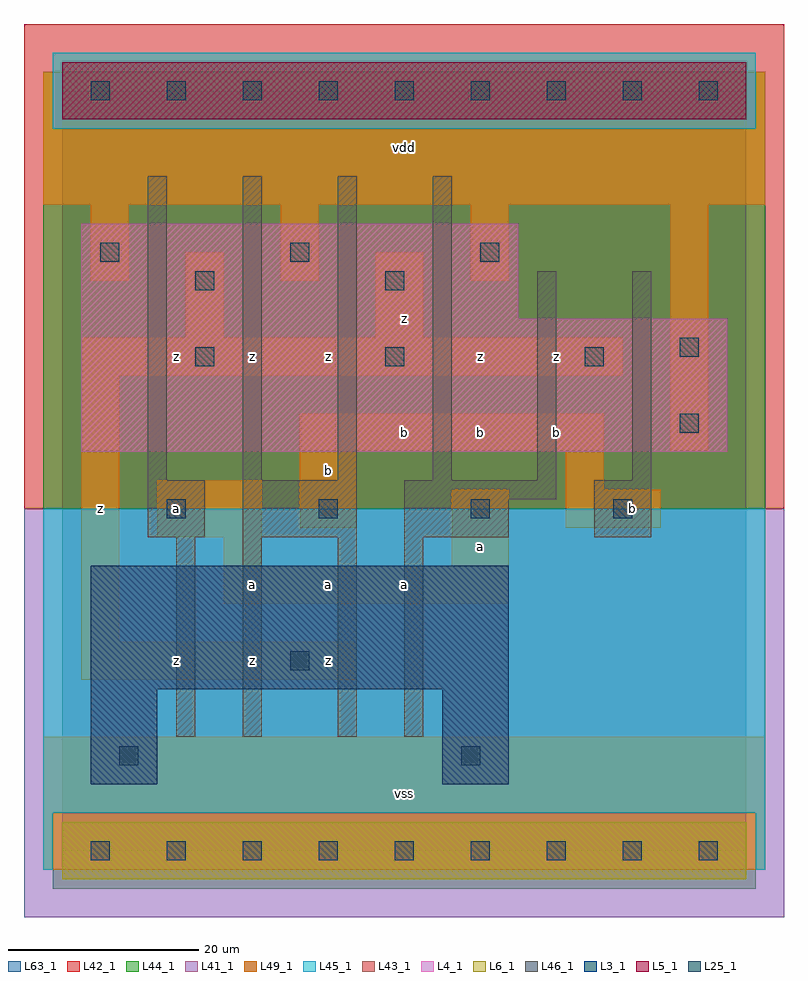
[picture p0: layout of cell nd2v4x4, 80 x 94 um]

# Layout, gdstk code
import gdstk
lib = gdstk.Library(unit=1e-6, precision=1e-09)
def R(c, l, rs):  # rectangles x0, y0, x1, y1
    for r in rs: c.add(gdstk.rectangle(r[:2], r[2:], *l))
def A(c, l, x, y, w, h, nx, ny, dx, dy):  # array of equal rectangles
    R(c, l, [(x+i*dx, y+j*dy, x+i*dx+w, y+j*dy+h) for i in range(nx) for j in range(ny)])
L3_1 = (3, 1)
L4_1 = (4, 1)
L5_1 = (5, 1)
L6_1 = (6, 1)
L25_1 = (25, 1)
L41_1 = (41, 1)
L42_1 = (42, 1)
L43_1 = (43, 1)
L44_1 = (44, 1)
L45_1 = (45, 1)
L46_1 = (46, 1)
L49_1 = (49, 1)
L63_1 = (63, 1)

nd2v4x4 = lib.new_cell('nd2v4x4')
R(nd2v4x4, L3_1, [(3,7,10,17), (40,7,47,17), (3,17,47,30)])
R(nd2v4x4, L4_1, [(2,42,70,56), (2,56,48,66)])
R(nd2v4x4, L5_1, [(0,77,72,83)])
R(nd2v4x4, L6_1, [(0,-3,72,3), (0,-3,72,3)])
A(nd2v4x4, L25_1, 3, -1, 2, 2, 9, 2, 8, 80)
A(nd2v4x4, L25_1, 11, 35, 2, 2, 3, 1, 16, 0)
A(nd2v4x4, L25_1, 4, 62, 2, 2, 3, 1, 20, 0)
R(nd2v4x4, L25_1, [(6,9,8,11), (42,9,44,11), (24,19,26,21), (58,35,60,37), (65,44,67,46), (14,51,16,53), (34,51,36,53), (55,51,57,53), (65,52,67,54), (14,59,16,61), (34,59,36,61)])
R(nd2v4x4, L41_1, [(-4,-7,76,36)])
R(nd2v4x4, L42_1, [(-4,36,76,87)])
R(nd2v4x4, L43_1, [(0,-3,72,3), (3,7,10,17), (40,7,47,17), (3,17,47,30), (2,42,70,56), (2,56,48,66), (0,77,72,83)])
R(nd2v4x4, L44_1, [(-1,-4,73,4), (-2,36,74,76), (-2,76,-1,82), (73,76,74,82)])
R(nd2v4x4, L45_1, [(-2,-2,-1,4), (73,-2,74,4), (-2,4,74,36), (-1,76,73,84)])
A(nd2v4x4, L46_1, 9, 39, 2, 32, 4, 1, 10, 0)
R(nd2v4x4, L46_1, [(12,12,14,33), (19,12,21,33), (29,12,31,33), (36,12,38,33), (9,33,15,39), (19,33,31,39), (36,33,47,37), (56,33,62,39), (36,37,52,39), (50,39,52,61), (60,39,62,61)])
A(nd2v4x4, L49_1, 3, 60, 4, 8, 3, 1, 20, 0)
R(nd2v4x4, L49_1, [(-2,-2,74,12), (2,18,31,22), (2,22,6,50), (17,26,47,30), (17,30,21,33), (41,30,47,38), (10,33,21,39), (25,34,31,42), (53,34,63,38), (53,38,57,42), (25,42,57,46), (64,42,68,68), (2,50,59,54), (13,54,17,63), (33,54,38,63), (-2,68,74,82)])
R(nd2v4x4, L63_1, [(0,0,72,80)])
nd2v4x4.add(gdstk.Label('z', (4,36), layer=49, texttype=1))
nd2v4x4.add(gdstk.Label('z', (12,20), layer=49, texttype=1))
nd2v4x4.add(gdstk.Label('z', (20,20), layer=49, texttype=1))
nd2v4x4.add(gdstk.Label('a', (20,28), layer=49, texttype=1))
nd2v4x4.add(gdstk.Label('a', (12,36), layer=49, texttype=1))
nd2v4x4.add(gdstk.Label('z', (20,52), layer=49, texttype=1))
nd2v4x4.add(gdstk.Label('z', (12,52), layer=49, texttype=1))
nd2v4x4.add(gdstk.Label('vss', (36,6), layer=49, texttype=1))
nd2v4x4.add(gdstk.Label('z', (28,20), layer=49, texttype=1))
nd2v4x4.add(gdstk.Label('a', (28,28), layer=49, texttype=1))
nd2v4x4.add(gdstk.Label('a', (36,28), layer=49, texttype=1))
nd2v4x4.add(gdstk.Label('b', (28,40), layer=49, texttype=1))
nd2v4x4.add(gdstk.Label('b', (36,44), layer=49, texttype=1))
nd2v4x4.add(gdstk.Label('z', (28,52), layer=49, texttype=1))
nd2v4x4.add(gdstk.Label('z', (36,56), layer=49, texttype=1))
nd2v4x4.add(gdstk.Label('vdd', (36,74), layer=49, texttype=1))
nd2v4x4.add(gdstk.Label('a', (44,32), layer=49, texttype=1))
nd2v4x4.add(gdstk.Label('b', (44,44), layer=49, texttype=1))
nd2v4x4.add(gdstk.Label('b', (52,44), layer=49, texttype=1))
nd2v4x4.add(gdstk.Label('z', (52,52), layer=49, texttype=1))
nd2v4x4.add(gdstk.Label('z', (44,52), layer=49, texttype=1))
nd2v4x4.add(gdstk.Label('b', (60,36), layer=49, texttype=1))

lib.write_gds('nd2v4x4.gds')
